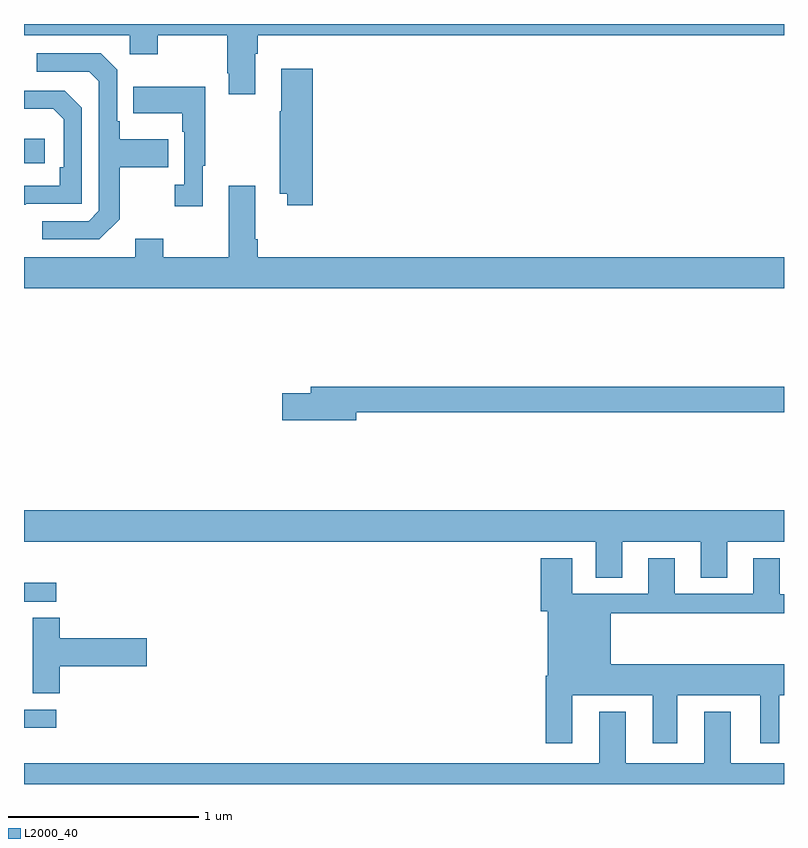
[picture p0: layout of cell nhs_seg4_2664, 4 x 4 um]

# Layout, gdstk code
import gdstk
lib = gdstk.Library(unit=1e-6, precision=1e-09)
def R(c, l, rs):  # rectangles x0, y0, x1, y1
    for r in rs: c.add(gdstk.rectangle(r[:2], r[2:], *l))
def P(c, l, *ps):  # polygons
    for p in ps: c.add(gdstk.Polygon(p, *l))
L2000_40 = (2000, 40)

nhs_seg4_2664 = lib.new_cell('nhs_seg4_2664')
R(nhs_seg4_2664, L2000_40, [(251,773.196,251.17,773.292), (251,773.859,251.17,773.958), (251,776.166,251.11,776.296)])
P(nhs_seg4_2664, L2000_40, [(252.217,776.744),(252.23,776.744),(252.23,776.84),(255,776.84),(255,776.9),(251,776.9),(251,776.84),(251.556,776.84),(251.556,776.741),(251.703,776.741),(251.703,776.84),(252.07,776.84),(252.07,776.641),(252.077,776.641),(252.077,776.529),(252.217,776.529)],
  [(251.503,775.873),(251.503,776.146),(251.759,776.146),(251.759,776.293),(251.503,776.293),(251.503,776.389),(251.49,776.389),(251.49,776.658),(251.403,776.745),(251.067,776.745),(251.067,776.649),(251.343,776.649),(251.394,776.598),(251.394,775.917),(251.34,775.863),(251.097,775.863),(251.097,775.767),(251.397,775.767)],
  [(252.521,776.665),(252.353,776.665),(252.353,776.441),(252.346,776.441),(252.346,776.006),(252.386,776.006),(252.386,775.947),(252.521,775.947)],
  [(251.941,776.153),(251.953,776.153),(251.953,776.569),(251.575,776.569),(251.575,776.429),(251.832,776.429),(251.832,776.333),(251.844,776.333),(251.844,776.054),(251.793,776.054),(251.793,775.941),(251.941,775.941)],
  [(251.009,775.953),(251.304,775.953),(251.304,776.46),(251.214,776.55),(251,776.55),(251,776.453),(251.155,776.453),(251.208,776.4),(251.208,776.146),(251.188,776.146),(251.188,776.049),(251,776.049),(251,775.948),(251.009,775.948)],
  [(255,775.672),(252.23,775.672),(252.23,775.768),(252.217,775.768),(252.217,776.05),(252.077,776.05),(252.077,775.672),(251.733,775.672),(251.733,775.771),(251.585,775.771),(251.585,775.672),(251,775.672),(251,775.508),(255,775.508)],
  [(252.748,774.856),(255,774.856),(255,774.992),(252.509,774.992),(252.509,774.956),(252.36,774.956),(252.36,774.814),(252.748,774.814)],
  [(254.149,774.176),(254.561,774.176),(254.561,773.986),(254.701,773.986),(254.701,774.176),(255,774.176),(255,774.34),(251,774.34),(251,774.176),(254.009,774.176),(254.009,773.986),(254.149,773.986)],
  [(253.885,773.366),(254.309,773.366),(254.309,773.115),(254.437,773.115),(254.437,773.366),(254.876,773.366),(254.876,773.115),(254.974,773.115),(254.974,773.366),(255,773.366),(255,773.53),(254.089,773.53),(254.089,773.8),(255,773.8),(255,773.898),(254.977,773.898),(254.977,774.088),(254.837,774.088),(254.837,773.901),(254.425,773.901),(254.425,774.088),(254.285,774.088),(254.285,773.901),(253.885,773.901),(253.885,774.088),(253.721,774.088),(253.721,773.808),(253.757,773.808),(253.757,773.47),(253.745,773.47),(253.745,773.115),(253.885,773.115)],
  [(251.189,773.519),(251.647,773.519),(251.647,773.666),(251.189,773.666),(251.189,773.774),(251.045,773.774),(251.045,773.377),(251.189,773.377)],
  [(255,773.008),(254.719,773.008),(254.719,773.281),(254.579,773.281),(254.579,773.008),(254.167,773.008),(254.167,773.281),(254.027,773.281),(254.027,773.008),(251,773.008),(251,772.9),(255,772.9)])

lib.write_gds('nhs_seg4_2664.gds')
